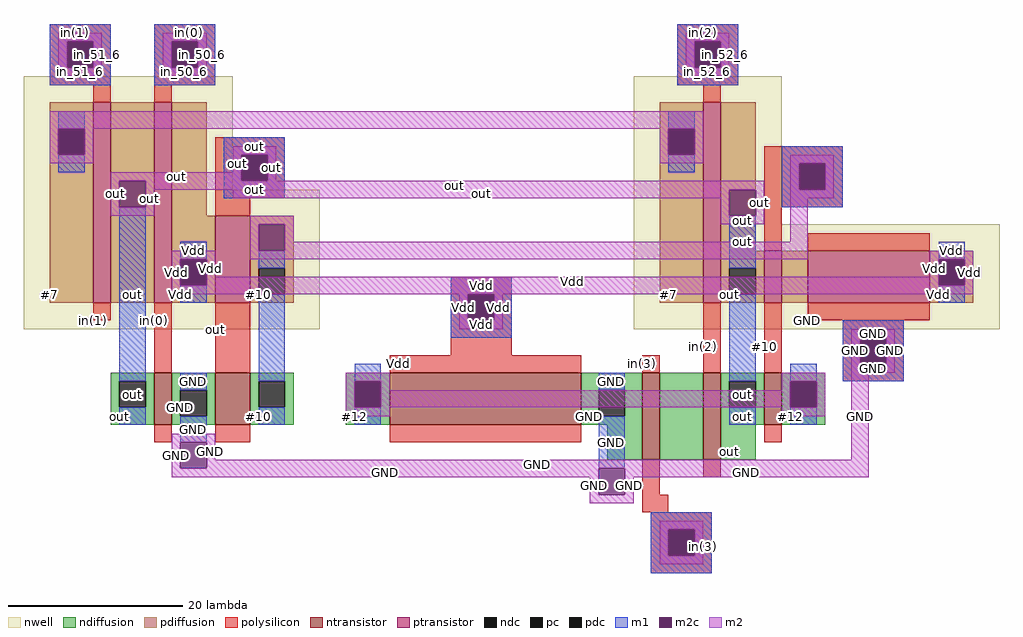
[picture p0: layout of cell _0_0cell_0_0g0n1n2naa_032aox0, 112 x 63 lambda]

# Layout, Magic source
magic
tech sky130l
<< nwell >>
rect 5 49 29 62
rect 5 33 39 49
rect 75 45 92 62
rect 75 33 117 45
<< ndiffusion >>
rect 15 27 20 28
rect 15 24 16 27
rect 19 24 20 27
rect 15 22 20 24
rect 22 26 27 28
rect 22 23 23 26
rect 26 23 27 26
rect 22 22 27 23
rect 31 27 36 28
rect 31 24 32 27
rect 35 24 36 27
rect 31 22 36 24
rect 42 27 47 28
rect 42 24 43 27
rect 46 24 47 27
rect 42 22 47 24
rect 69 26 76 28
rect 69 23 71 26
rect 74 23 76 26
rect 69 22 76 23
rect 72 18 76 22
rect 78 18 83 28
rect 85 27 90 28
rect 85 24 86 27
rect 89 24 90 27
rect 85 22 90 24
rect 92 27 97 28
rect 92 24 93 27
rect 96 24 97 27
rect 92 22 97 24
rect 85 18 89 22
<< ndc >>
rect 16 24 19 27
rect 23 23 26 26
rect 32 24 35 27
rect 43 24 46 27
rect 71 23 74 26
rect 86 24 89 27
rect 93 24 96 27
<< ntransistor >>
rect 20 22 22 28
rect 27 22 31 28
rect 47 22 69 28
rect 76 18 78 28
rect 83 18 85 28
rect 90 22 92 28
<< pdiffusion >>
rect 8 56 13 59
rect 8 53 9 56
rect 12 53 13 56
rect 8 36 13 53
rect 15 36 20 59
rect 22 46 26 59
rect 78 56 83 59
rect 78 53 79 56
rect 82 53 83 56
rect 22 41 27 46
rect 22 38 23 41
rect 26 38 27 41
rect 22 36 27 38
rect 31 40 36 46
rect 31 37 32 40
rect 35 37 36 40
rect 31 36 36 37
rect 78 36 83 53
rect 85 42 89 59
rect 85 40 90 42
rect 85 37 86 40
rect 89 37 90 40
rect 85 36 90 37
rect 92 36 95 42
rect 109 41 114 42
rect 109 38 110 41
rect 113 38 114 41
rect 109 36 114 38
<< pdc >>
rect 9 53 12 56
rect 79 53 82 56
rect 23 38 26 41
rect 32 37 35 40
rect 86 37 89 40
rect 110 38 113 41
<< ptransistor >>
rect 13 36 15 59
rect 20 36 22 59
rect 27 36 31 46
rect 83 36 85 59
rect 90 36 92 42
rect 95 36 109 42
<< polysilicon >>
rect 8 66 15 68
rect 8 63 10 66
rect 13 63 15 66
rect 8 61 15 63
rect 13 59 15 61
rect 20 66 27 68
rect 20 63 22 66
rect 25 63 27 66
rect 20 61 27 63
rect 80 66 87 68
rect 80 63 82 66
rect 85 63 87 66
rect 80 61 87 63
rect 20 59 22 61
rect 83 59 85 61
rect 27 53 35 55
rect 27 50 30 53
rect 33 50 35 53
rect 27 48 35 50
rect 27 46 31 48
rect 54 37 61 39
rect 13 34 15 36
rect 20 28 22 36
rect 27 28 31 36
rect 54 34 56 37
rect 59 34 61 37
rect 90 52 99 54
rect 90 49 94 52
rect 97 49 99 52
rect 90 47 99 49
rect 90 42 92 47
rect 95 42 109 44
rect 54 30 61 34
rect 47 28 69 30
rect 76 28 78 30
rect 83 28 85 36
rect 90 28 92 36
rect 95 34 109 36
rect 99 32 106 34
rect 99 29 101 32
rect 104 29 106 32
rect 20 20 22 22
rect 27 20 31 22
rect 47 20 69 22
rect 99 27 106 29
rect 90 20 92 22
rect 76 14 78 18
rect 83 16 85 18
rect 76 12 79 14
rect 77 10 84 12
rect 77 7 79 10
rect 82 7 84 10
rect 77 5 84 7
<< pc >>
rect 10 63 13 66
rect 22 63 25 66
rect 82 63 85 66
rect 30 50 33 53
rect 56 34 59 37
rect 94 49 97 52
rect 101 29 104 32
rect 79 7 82 10
<< m1 >>
rect 8 66 15 68
rect 8 63 10 66
rect 13 63 15 66
rect 8 61 15 63
rect 20 66 27 68
rect 20 63 22 66
rect 25 63 27 66
rect 20 61 27 63
rect 80 66 87 68
rect 80 63 82 66
rect 85 63 87 66
rect 80 61 87 63
rect 9 56 12 58
rect 79 56 82 58
rect 9 51 12 53
rect 28 53 35 55
rect 28 50 30 53
rect 33 50 35 53
rect 79 51 82 53
rect 92 52 99 54
rect 28 48 35 50
rect 92 49 94 52
rect 97 49 99 52
rect 16 27 19 47
rect 92 47 99 49
rect 23 41 26 43
rect 23 36 26 38
rect 32 40 35 42
rect 86 40 89 46
rect 16 22 19 24
rect 23 26 26 28
rect 23 20 26 23
rect 32 27 35 37
rect 54 37 61 39
rect 54 34 56 37
rect 59 34 61 37
rect 54 32 61 34
rect 32 22 35 24
rect 43 27 46 29
rect 43 22 46 24
rect 71 26 74 28
rect 71 17 74 23
rect 86 27 89 37
rect 110 41 113 43
rect 110 36 113 38
rect 99 32 106 34
rect 99 29 101 32
rect 104 29 106 32
rect 86 22 89 24
rect 93 27 96 29
rect 99 27 106 29
rect 93 22 96 24
rect 77 10 84 12
rect 77 7 79 10
rect 82 7 84 10
rect 77 5 84 7
<< m2c >>
rect 10 63 13 66
rect 22 63 25 66
rect 82 63 85 66
rect 9 53 12 56
rect 30 50 33 53
rect 79 53 82 56
rect 16 47 19 50
rect 94 49 97 52
rect 86 46 89 49
rect 23 38 26 41
rect 32 42 35 45
rect 56 34 59 37
rect 43 24 46 27
rect 23 17 26 20
rect 110 38 113 41
rect 101 29 104 32
rect 93 24 96 27
rect 71 14 74 17
rect 79 7 82 10
<< m2 >>
rect 9 66 14 67
rect 9 63 10 66
rect 13 63 14 66
rect 9 62 14 63
rect 21 66 26 67
rect 21 63 22 66
rect 25 63 26 66
rect 21 62 26 63
rect 81 66 86 67
rect 81 63 82 66
rect 85 63 86 66
rect 81 62 86 63
rect 8 56 83 58
rect 8 53 9 56
rect 12 53 13 56
rect 8 52 13 53
rect 29 53 34 54
rect 29 51 30 53
rect 15 50 30 51
rect 33 50 34 53
rect 78 53 79 56
rect 82 53 83 56
rect 78 52 83 53
rect 93 52 98 53
rect 15 47 16 50
rect 19 49 90 50
rect 19 47 20 49
rect 29 48 86 49
rect 15 46 20 47
rect 85 46 86 48
rect 89 46 90 49
rect 31 45 36 46
rect 85 45 90 46
rect 93 49 94 52
rect 97 49 98 52
rect 93 48 98 49
rect 31 42 32 45
rect 35 43 36 45
rect 93 43 95 48
rect 35 42 95 43
rect 22 41 27 42
rect 31 41 95 42
rect 109 41 114 42
rect 22 38 23 41
rect 26 39 27 41
rect 109 39 110 41
rect 26 38 110 39
rect 113 38 114 41
rect 22 37 114 38
rect 55 34 56 37
rect 59 34 60 37
rect 55 33 60 34
rect 100 32 105 33
rect 100 29 101 32
rect 104 29 105 32
rect 100 28 105 29
rect 42 27 47 28
rect 42 24 43 27
rect 46 26 47 27
rect 92 27 97 28
rect 92 26 93 27
rect 46 24 93 26
rect 96 24 97 27
rect 42 23 47 24
rect 92 23 97 24
rect 22 20 27 21
rect 22 17 23 20
rect 26 18 27 20
rect 100 18 102 28
rect 26 17 102 18
rect 22 16 71 17
rect 70 14 71 16
rect 74 16 102 17
rect 74 14 75 16
rect 70 13 75 14
rect 78 10 83 11
rect 78 7 79 10
rect 82 7 83 10
rect 78 6 83 7
<< labels >>
flabel polysilicon 83 31 83 31 3 FreeSerif 8 0 0 0 in(2)
flabel polysilicon 90 31 90 31 3 FreeSerif 8 0 0 0 #10
flabel polysilicon 48 29 48 29 3 FreeSerif 8 0 0 0 Vdd
rlabel polysilicon 13 34 13 34 3 in(1)
rlabel polysilicon 95 34 95 34 3 GND
flabel polysilicon 20 34 20 34 3 FreeSerif 8 0 0 0 in(0)
flabel polysilicon 27 33 27 33 3 FreeSerif 8 0 0 0 out
flabel pdiffusion 8 37 8 37 3 FreeSerif 8 0 0 0 #7
flabel pdiffusion 23 37 23 37 3 FreeSerif 8 0 0 0 Vdd
flabel pdiffusion 32 37 32 37 3 FreeSerif 8 0 0 0 #10
flabel pdiffusion 79 37 79 37 3 FreeSerif 8 0 0 0 #7
flabel pdiffusion 86 37 86 37 3 FreeSerif 8 0 0 0 out
flabel pdiffusion 110 37 110 37 3 FreeSerif 8 0 0 0 Vdd
flabel polysilicon 96 34 96 34 1 FreeSerif 8 0 0 0 GND
flabel ndiffusion 93 23 93 23 3 FreeSerif 8 0 0 0 #12
flabel ndiffusion 86 19 86 19 3 FreeSerif 8 0 0 0 out
flabel polysilicon 76 29 76 29 3 FreeSerif 8 0 0 0 in(3)
flabel ndiffusion 70 23 70 23 3 FreeSerif 8 0 0 0 GND
flabel ndiffusion 43 23 43 23 3 FreeSerif 8 0 0 0 #12
flabel ndiffusion 32 23 32 23 3 FreeSerif 8 0 0 0 #10
flabel ndiffusion 16 23 16 23 3 FreeSerif 8 0 0 0 out
flabel polysilicon 13 35 13 35 3 FreeSerif 8 0 0 0 in(1)
flabel ndiffusion 23 24 23 24 3 FreeSerif 8 0 0 0 GND
flabel m2 11 67 11 67 1 FreeSerif 8 0 0 0 in(1)
port 5 n
flabel m2 24 67 24 67 1 FreeSerif 8 0 0 0 in(0)
port 7 n
flabel m2 83 67 83 67 1 FreeSerif 8 0 0 0 in(2)
port 4 n
flabel m2 s 104 29 105 32 3 FreeSerif 8 0 0 0 GND
port 1 nsew ground input
flabel m2 s 89 46 90 49 3 FreeSerif 8 0 0 0 out
port 6 nsew signal output
flabel m2 s 109 39 110 41 1 FreeSerif 8 0 0 0 Vdd
port 2 nsew power input
flabel m2 83 8 83 8 3 FreeSerif 8 0 0 0 in(3)
port 3 e
rlabel m2 s 25 63 26 66 5 in_50_6
port 1 nsew signal input
rlabel m2 s 22 63 25 66 5 in_50_6
port 1 nsew signal input
rlabel m2 s 21 63 22 66 5 in_50_6
port 1 nsew signal input
rlabel m2 s 21 62 26 63 1 in_50_6
port 1 nsew signal input
rlabel m2 s 21 66 26 67 5 in_50_6
port 1 nsew signal input
rlabel m1 s 25 63 27 66 5 in_50_6
port 1 nsew signal input
rlabel m1 s 22 63 25 66 5 in_50_6
port 1 nsew signal input
rlabel m1 s 20 61 27 63 1 in_50_6
port 1 nsew signal input
rlabel m1 s 20 63 22 66 5 in_50_6
port 1 nsew signal input
rlabel m1 s 20 66 27 68 5 in_50_6
port 1 nsew signal input
rlabel m2 s 13 63 14 66 5 in_51_6
port 2 nsew signal input
rlabel m2 s 10 63 13 66 5 in_51_6
port 2 nsew signal input
rlabel m2 s 9 62 14 63 1 in_51_6
port 2 nsew signal input
rlabel m2 s 9 63 10 66 4 in_51_6
port 2 nsew signal input
rlabel m2 s 9 66 14 67 5 in_51_6
port 2 nsew signal input
rlabel m1 s 13 63 15 66 5 in_51_6
port 2 nsew signal input
rlabel m1 s 10 63 13 66 5 in_51_6
port 2 nsew signal input
rlabel m1 s 8 61 15 63 1 in_51_6
port 2 nsew signal input
rlabel m1 s 8 63 10 66 4 in_51_6
port 2 nsew signal input
rlabel m1 s 8 66 15 68 5 in_51_6
port 2 nsew signal input
rlabel m2 s 85 63 86 66 5 in_52_6
port 3 nsew signal input
rlabel m2 s 82 63 85 66 5 in_52_6
port 3 nsew signal input
rlabel m2 s 81 63 82 66 5 in_52_6
port 3 nsew signal input
rlabel m2 s 81 62 86 63 1 in_52_6
port 3 nsew signal input
rlabel m2 s 81 66 86 67 5 in_52_6
port 3 nsew signal input
rlabel m1 s 85 63 87 66 5 in_52_6
port 3 nsew signal input
rlabel m1 s 82 63 85 66 5 in_52_6
port 3 nsew signal input
rlabel m1 s 80 61 87 63 1 in_52_6
port 3 nsew signal input
rlabel m1 s 80 63 82 66 5 in_52_6
port 3 nsew signal input
rlabel m1 s 80 66 87 68 5 in_52_6
port 3 nsew signal input
rlabel m2 s 81 7 82 10 1 in_53_6
port 4 nsew signal input
rlabel m2 s 78 7 81 10 1 in_53_6
port 4 nsew signal input
rlabel m1 s 81 7 83 10 1 in_53_6
port 4 nsew signal input
rlabel m1 s 78 7 81 10 1 in_53_6
port 4 nsew signal input
rlabel m2 s 86 46 89 49 1 out
port 6 nsew signal output
rlabel m2 s 85 45 90 46 1 out
port 6 nsew signal output
rlabel m2 s 85 46 86 48 1 out
port 6 nsew signal output
rlabel m2 s 29 48 86 49 1 out
port 6 nsew signal output
rlabel m2 s 29 51 30 53 1 out
port 6 nsew signal output
rlabel m2 s 19 47 20 49 1 out
port 6 nsew signal output
rlabel m2 s 19 49 90 50 1 out
port 6 nsew signal output
rlabel m2 s 33 50 34 53 1 out
port 6 nsew signal output
rlabel m2 s 16 47 19 50 1 out
port 6 nsew signal output
rlabel m2 s 30 50 33 53 1 out
port 6 nsew signal output
rlabel m2 s 29 53 34 54 1 out
port 6 nsew signal output
rlabel m2 s 15 46 20 47 1 out
port 6 nsew signal output
rlabel m2 s 15 47 16 50 1 out
port 6 nsew signal output
rlabel m2 s 15 50 30 51 1 out
port 6 nsew signal output
rlabel m1 s 86 24 89 27 1 out
port 6 nsew signal output
rlabel m1 s 86 27 89 37 1 out
port 6 nsew signal output
rlabel m1 s 86 37 89 40 1 out
port 6 nsew signal output
rlabel m1 s 86 40 89 46 1 out
port 6 nsew signal output
rlabel m1 s 86 46 89 49 1 out
port 6 nsew signal output
rlabel m1 s 33 50 35 53 1 out
port 6 nsew signal output
rlabel m1 s 86 22 89 24 1 out
port 6 nsew signal output
rlabel m1 s 30 50 33 53 1 out
port 6 nsew signal output
rlabel m1 s 28 48 35 50 1 out
port 6 nsew signal output
rlabel m1 s 28 50 30 53 1 out
port 6 nsew signal output
rlabel m1 s 28 53 35 55 1 out
port 6 nsew signal output
rlabel m1 s 16 22 19 24 1 out
port 6 nsew signal output
rlabel m1 s 16 24 19 27 1 out
port 6 nsew signal output
rlabel m1 s 16 27 19 47 1 out
port 6 nsew signal output
rlabel m1 s 16 47 19 50 1 out
port 6 nsew signal output
rlabel m2 s 109 41 114 42 1 Vdd
port 2 nsew power input
rlabel m2 s 59 34 60 37 1 Vdd
port 2 nsew power input
rlabel m2 s 56 34 59 37 1 Vdd
port 2 nsew power input
rlabel m2 s 55 33 60 34 1 Vdd
port 2 nsew power input
rlabel m2 s 55 34 56 37 1 Vdd
port 2 nsew power input
rlabel m2 s 113 38 114 41 7 Vdd
port 2 nsew power input
rlabel m2 s 110 38 113 41 1 Vdd
port 2 nsew power input
rlabel m2 s 26 38 110 39 1 Vdd
port 2 nsew power input
rlabel m2 s 26 39 27 41 1 Vdd
port 2 nsew power input
rlabel m2 s 23 38 26 41 1 Vdd
port 2 nsew power input
rlabel m2 s 22 37 114 38 1 Vdd
port 2 nsew power input
rlabel m2 s 22 38 23 41 1 Vdd
port 2 nsew power input
rlabel m2 s 22 41 27 42 1 Vdd
port 2 nsew power input
rlabel m1 s 110 36 113 38 1 Vdd
port 2 nsew power input
rlabel m1 s 110 38 113 41 1 Vdd
port 2 nsew power input
rlabel m1 s 110 41 113 43 1 Vdd
port 2 nsew power input
rlabel m1 s 59 34 61 37 1 Vdd
port 2 nsew power input
rlabel m1 s 56 34 59 37 1 Vdd
port 2 nsew power input
rlabel m1 s 54 32 61 34 1 Vdd
port 2 nsew power input
rlabel m1 s 54 34 56 37 1 Vdd
port 2 nsew power input
rlabel m1 s 54 37 61 39 1 Vdd
port 2 nsew power input
rlabel m1 s 23 36 26 38 1 Vdd
port 2 nsew power input
rlabel m1 s 23 38 26 41 1 Vdd
port 2 nsew power input
rlabel m1 s 23 41 26 43 1 Vdd
port 2 nsew power input
rlabel m2 s 101 29 104 32 1 GND
port 1 nsew ground input
rlabel m2 s 100 28 105 29 1 GND
port 1 nsew ground input
rlabel m2 s 100 29 101 32 1 GND
port 1 nsew ground input
rlabel m2 s 100 32 105 33 1 GND
port 1 nsew ground input
rlabel m2 s 100 18 102 28 1 GND
port 1 nsew ground input
rlabel m2 s 74 14 75 16 1 GND
port 1 nsew ground input
rlabel m2 s 74 16 102 17 1 GND
port 1 nsew ground input
rlabel m2 s 71 14 74 17 1 GND
port 1 nsew ground input
rlabel m2 s 70 13 75 14 1 GND
port 1 nsew ground input
rlabel m2 s 70 14 71 16 1 GND
port 1 nsew ground input
rlabel m2 s 26 17 102 18 1 GND
port 1 nsew ground input
rlabel m2 s 26 18 27 20 1 GND
port 1 nsew ground input
rlabel m2 s 23 17 26 20 1 GND
port 1 nsew ground input
rlabel m2 s 22 16 71 17 1 GND
port 1 nsew ground input
rlabel m2 s 22 17 23 20 1 GND
port 1 nsew ground input
rlabel m2 s 22 20 27 21 1 GND
port 1 nsew ground input
rlabel m1 s 104 29 106 32 1 GND
port 1 nsew ground input
rlabel m1 s 101 29 104 32 1 GND
port 1 nsew ground input
rlabel m1 s 99 27 106 29 1 GND
port 1 nsew ground input
rlabel m1 s 99 29 101 32 1 GND
port 1 nsew ground input
rlabel m1 s 99 32 106 34 1 GND
port 1 nsew ground input
rlabel m1 s 71 26 74 28 1 GND
port 1 nsew ground input
rlabel m1 s 71 23 74 26 1 GND
port 1 nsew ground input
rlabel m1 s 23 26 26 28 1 GND
port 1 nsew ground input
rlabel m1 s 71 17 74 23 1 GND
port 1 nsew ground input
rlabel m1 s 71 14 74 17 1 GND
port 1 nsew ground input
rlabel m1 s 23 23 26 26 1 GND
port 1 nsew ground input
rlabel m1 s 23 17 26 20 1 GND
port 1 nsew ground input
rlabel m1 s 23 20 26 23 1 GND
port 1 nsew ground input
<< properties >>
string FIXED_BBOX 0 0 120 72
string LEFclass CORE
string LEFsite CoreSite
string LEFsymmetry X Y
<< end >>
